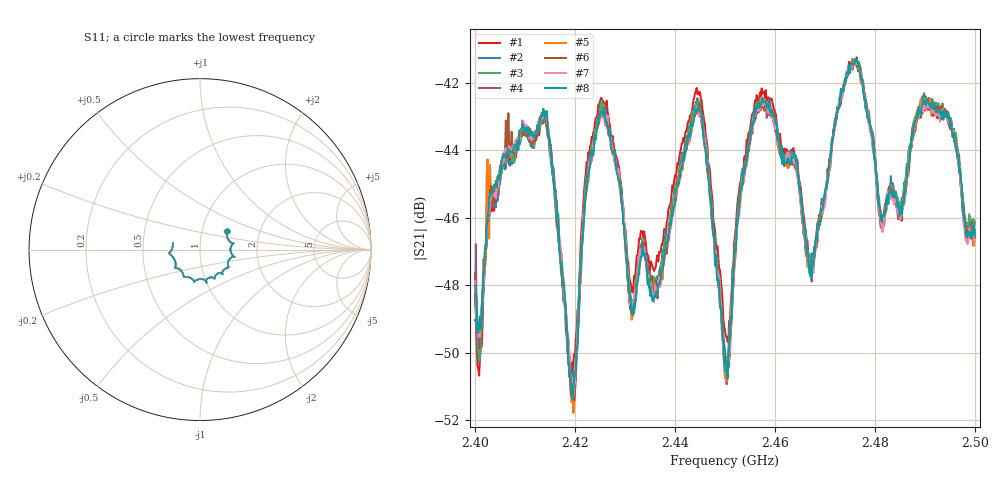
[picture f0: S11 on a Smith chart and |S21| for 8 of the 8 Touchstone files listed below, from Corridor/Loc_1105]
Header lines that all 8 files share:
# Hz S RI R
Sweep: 2.4 GHz to 2.5 GHz
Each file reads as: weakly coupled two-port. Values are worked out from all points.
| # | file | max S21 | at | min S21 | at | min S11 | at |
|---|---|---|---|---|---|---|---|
| 1 | Lab_139_1Ch1.s2p | -41.32 dB | 2.4757 GHz | -51.0 dB | 2.4195 GHz | -15.9 dB | 2.4897 GHz |
| 2 | Lab_139_2Ch1.s2p | -41.28 dB | 2.4755 GHz | -51.4 dB | 2.4195 GHz | -15.9 dB | 2.4895 GHz |
| 3 | Lab_139_3Ch1.s2p | -41.30 dB | 2.4755 GHz | -51.1 dB | 2.4197 GHz | -15.9 dB | 2.4895 GHz |
| 4 | Lab_139_4Ch1.s2p | -41.36 dB | 2.4762 GHz | -51.0 dB | 2.4195 GHz | -15.9 dB | 2.4897 GHz |
| 5 | Lab_139_5Ch1.s2p | -41.40 dB | 2.4758 GHz | -51.8 dB | 2.4197 GHz | -15.9 dB | 2.4898 GHz |
| 6 | Lab_139_6Ch1.s2p | -41.24 dB | 2.4763 GHz | -51.4 dB | 2.4198 GHz | -15.9 dB | 2.4897 GHz |
| 7 | Lab_139_8Ch1.s2p | -41.35 dB | 2.476 GHz | -51.3 dB | 2.4197 GHz | -15.9 dB | 2.4897 GHz |
| 8 | Lab_139_9Ch1.s2p | -41.32 dB | 2.476 GHz | -51.3 dB | 2.4195 GHz | -15.9 dB | 2.4898 GHz |
